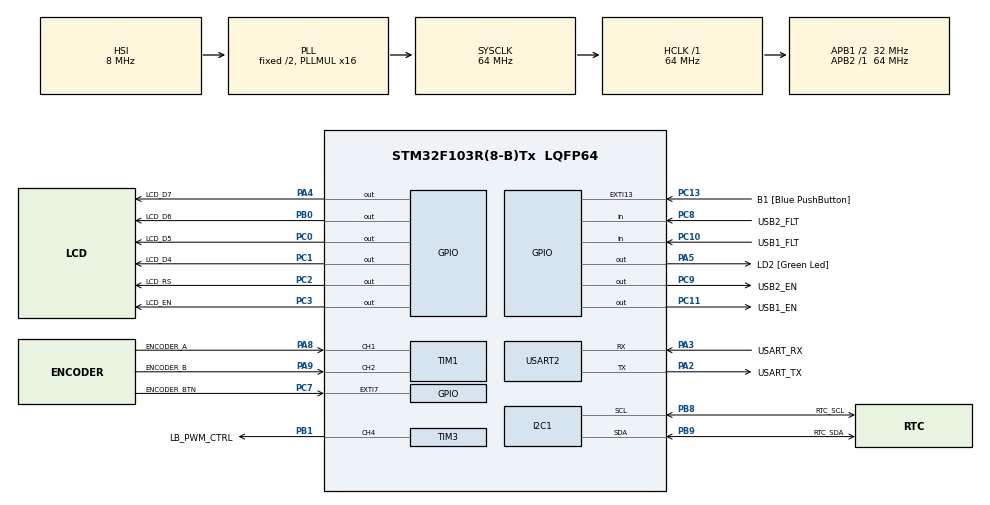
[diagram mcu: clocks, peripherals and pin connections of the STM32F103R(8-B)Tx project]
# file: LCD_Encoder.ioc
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Mcu.Family=STM32F1
Mcu.Name=STM32F103R(8-B)Tx
Mcu.Package=LQFP64
NVIC.EXTI15_10_IRQn=true\:0\:0\:false\:false\:true\:true\:true\:true
NVIC.PriorityGroup=NVIC_PRIORITYGROUP_4
NVIC.TIM1_BRK_IRQn=true\:0\:0\:false\:false\:true\:true\:true\:true
NVIC.TIM1_CC_IRQn=true\:0\:0\:false\:false\:true\:true\:true\:true
NVIC.TIM1_TRG_COM_IRQn=true\:0\:0\:false\:false\:true\:true\:true\:true
NVIC.TIM1_UP_IRQn=true\:0\:0\:false\:false\:true\:true\:true\:true
NVIC.TIM3_IRQn=true\:0\:0\:false\:false\:true\:true\:true\:true
PA13.GPIO_Label=TMS
PA13.Mode=Serial_Wire
PA13.Signal=SYS_JTMS-SWDIO
PA14.GPIO_Label=TCK
PA14.Mode=Serial_Wire
PA14.Signal=SYS_JTCK-SWCLK
PA2.GPIO_Label=USART_TX
PA2.GPIO_Mode=GPIO_MODE_AF_PP
PA2.GPIO_PuPd=GPIO_NOPULL
PA2.GPIO_Speed=GPIO_SPEED_FREQ_LOW
PA2.Mode=Asynchronous
PA2.Signal=USART2_TX
PA3.GPIO_Label=USART_RX
PA3.GPIO_Mode=GPIO_MODE_AF_PP
PA3.GPIO_PuPd=GPIO_NOPULL
PA3.GPIO_Speed=GPIO_SPEED_FREQ_LOW
PA3.Mode=Asynchronous
PA3.Signal=USART2_RX
PA4.GPIO_Label=LCD_D7
PA4.Signal=GPIO_Output
PA5.GPIO_Label=LD2 [Green Led]
PA5.GPIO_ModeDefaultOutputPP=GPIO_MODE_OUTPUT_PP
PA5.GPIO_PuPd=GPIO_NOPULL
PA5.GPIO_Speed=GPIO_SPEED_FREQ_LOW
PA5.Signal=GPIO_Output
PA8.GPIO_Label=ENCODER_A
PA8.Signal=S_TIM1_CH1
PA9.GPIO_Label=ENCODER_B
PA9.Signal=S_TIM1_CH2
PB0.GPIO_Label=LCD_D6
PB0.Signal=GPIO_Output
PB1.GPIO_Label=LB_PWM_CTRL
PB1.Signal=S_TIM3_CH4
PB3.GPIO_Label=SWO
PB3.Signal=SYS_JTDO-TRACESWO
PB8.GPIO_Label=RTC_SCL
PB8.Mode=I2C
PB8.Signal=I2C1_SCL
PB9.GPIO_Label=RTC_SDA
PB9.Mode=I2C
PB9.Signal=I2C1_SDA
PC0.GPIO_Label=LCD_D5
PC0.Signal=GPIO_Output
PC1.GPIO_Label=LCD_D4
PC1.Signal=GPIO_Output
PC10.GPIO_Label=USB1_FLT
PC10.Signal=GPIO_Input
PC11.GPIO_Label=USB1_EN
PC11.Signal=GPIO_Output
PC13-TAMPER-RTC.GPIO_Label=B1 [Blue PushButton]
PC13-TAMPER-RTC.GPIO_PuPd=GPIO_NOPULL
PC13-TAMPER-RTC.Signal=GPXTI13
PC14-OSC32_IN.Mode=LSE-External-Oscillator
PC14-OSC32_IN.Signal=RCC_OSC32_IN
PC15-OSC32_OUT.Mode=LSE-External-Oscillator
PC15-OSC32_OUT.Signal=RCC_OSC32_OUT
PC2.GPIO_Label=LCD_RS
PC2.Signal=GPIO_Output
PC3.GPIO_Label=LCD_EN
PC3.Signal=GPIO_Output
PC7.GPIO_Label=ENCODER_BTN
PC7.GPIO_ModeDefaultEXTI=GPIO_MODE_IT_FALLING
PC7.GPIO_PuPd=GPIO_PULLUP
PC7.Signal=GPXTI7
PC8.GPIO_Label=USB2_FLT
PC8.Signal=GPIO_Input
PC9.GPIO_Label=USB2_EN
PC9.Signal=GPIO_Output
PD0-OSC_IN.Mode=HSE-External-Clock-Source
PD0-OSC_IN.Signal=RCC_OSC_IN
PD1-OSC_OUT.Mode=HSE-External-Clock-Source
PD1-OSC_OUT.Signal=RCC_OSC_OUT
ProjectManager.HeapSize=0x200
ProjectManager.StackSize=0x400
ProjectManager.TargetToolchain=STM32CubeIDE
RCC.AHBFreq_Value=64000000
RCC.APB1CLKDivider=RCC_HCLK_DIV2
RCC.APB1Freq_Value=32000000
RCC.APB1TimFreq_Value=64000000
RCC.APB2Freq_Value=64000000
RCC.APB2TimFreq_Value=64000000
RCC.HCLKFreq_Value=64000000
RCC.PLLMUL=RCC_PLL_MUL16
RCC.RTCClockSelection=RCC_RTCCLKSOURCE_LSE
RCC.SYSCLKFreq_VALUE=64000000
RCC.SYSCLKSource=RCC_SYSCLKSOURCE_PLLCLK
RCC.USBFreq_Value=64000000
SH.S_TIM1_CH1.0=TIM1_CH1,Encoder_Interface
SH.S_TIM1_CH2.0=TIM1_CH2,Encoder_Interface
SH.S_TIM3_CH4.0=TIM3_CH4,PWM Generation4 CH4
TIM3.Channel-PWM\ Generation4\ CH4=TIM_CHANNEL_4
USART2.VirtualMode=VM_ASYNC
board=NUCLEO-F103RB

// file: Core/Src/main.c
/*
 * Created by: Marcin Dziedzic
 */

/* USER CODE BEGIN Header */
/**
  ******************************************************************************
  * @file           : main.c
  * @brief          : Main program body
  ******************************************************************************
  * @attention
  *
  * Copyright (c) 2025 STMicroelectronics.
  * All rights reserved.
  *
  * This software is licensed under terms that can be found in the LICENSE file
  * in the root directory of this software component.
  * If no LICENSE file comes with this software, it is provided AS-IS.
  *
  ******************************************************************************
  */
/* USER CODE END Header */

#include "main.h"

/* USER CODE BEGIN Includes */
#include "r_encoder.h"
#include "RTC.h"
#include "lcd.h"
#include "menu.h"
#include "light_sen.h"
#include "fade.h"
#include "menu_state_handlers.h"
#include "alarm.h"
/* USER CODE END Includes */

I2C_HandleTypeDef hi2c1;
TIM_HandleTypeDef htim1;
TIM_HandleTypeDef htim3;
UART_HandleTypeDef huart2;
LedFadeHandle_t g_fadeHandle;

/* USER CODE BEGIN PV */
uint32_t lastEncMove    = 0;
uint32_t lastBtnPress   = 0;
uint32_t lastTimeUpdate = 0;
REncoder_HandleTypeDef henc;
extern int menuCount;
/* USER CODE END PV */

void SystemClock_Config(void);
static void MX_GPIO_Init(void);
static void MX_USART2_UART_Init(void);
static void MX_TIM1_Init(void);
static void MX_I2C1_Init(void);
static void MX_TIM3_Init(void);

/**
  * @brief  Główna funkcja programu (punkt startu).
  * @retval int
  */
int main(void)
{

  /* 1. Inicjalizacja biblioteki HAL */
  HAL_Init();

  /* 2. Konfiguracja zegara systemowego (CubeMX) */
  SystemClock_Config();

  /* USER CODE BEGIN Init */
  RTC_Init(&hi2c1);
  /* USER CODE END Init */

  /* Inicjalizacja wygenerowanych peryferiów */
  MX_GPIO_Init();
  MX_USART2_UART_Init();
  MX_TIM1_Init();
  MX_I2C1_Init();
  MX_TIM3_Init();

  /* USER CODE BEGIN 2 */
  HAL_TIM_PWM_Start(&htim3, TIM_CHANNEL_4);
  __HAL_TIM_SET_COMPARE(&htim3, TIM_CHANNEL_4, htim3.Init.Period);
  l_BulbOnOff = 2; // 2 = OFF

  REncoder_Init(&henc, &htim1, GPIOC, GPIO_PIN_7);
  LightSen_Init(&hi2c1);

  // Inicjalizacja LCD
  Lcd_PortType ports[] = { GPIOC, GPIOC, GPIOB, GPIOA };
  Lcd_PinType  pins[]  = { GPIO_PIN_0, GPIO_PIN_1, GPIO_PIN_0, GPIO_PIN_4 };
  Lcd_HandleTypeDef lcd = Lcd_create(
      ports,
      pins,
      GPIOC, GPIO_PIN_2,  // RS
      GPIOC, GPIO_PIN_3,  // EN
      LCD_4_BIT_MODE
  );

  // Wyświetlenie menu głównego
  Menu_Display(&lcd, menuIndex, true);
  AlarmPreSet();
  /* USER CODE END 2 */

  /* USER CODE BEGIN WHILE */
  while (1)
  {
    LedFade_Process(&g_fadeHandle);

    int val = REncoder_Update(&henc);
    uint32_t now = HAL_GetTick();

    // Odczyt RTC
    RTC_TimeTypeDef rtc_info;
    RTC_ReadTime(&rtc_info);

    CheckAlarmTrigger(&rtc_info);

    // Główny automat stanów menu
    switch (gState)
    {
      case MENU_STATE:
        HandleMenuState(val, now, &lcd);
        break;
      case OPTION_STATE:
        HandleOptionState(val, now, &lcd);
        break;
      case SUBMENU_2:
        HandleSubMenu2State(val, now, &lcd);
        break;
      case SUBMENU_2B:
        HandleSubMenu2BState(val, now, &lcd);
        break;
      case SUBMENU_L_BULB:
        HandleSubMenuLBState(val, now, &lcd);
        break;
      case SUBMENU_ALARM:
        HandleSubMenuAlarmState(val, now, &lcd);
        break;
      case SUBMENU_ALARM_SET:
        HandleSubMenuAlarmSetState(val, now, &lcd);
        break;
      case ALARM_TRIGGERED:
        HandleAlarmTriggered(val, now, &lcd);
        break;
      case SUBMENU_ALARM_LSENSOR:
        HandleSubMenuAlarmLSensorState(val, now, &lcd);
        break;
      default:
        break;
    }

    // Opóźnienie w pętli (odciążenie CPU)
    HAL_Delay(10);
  }
  /* USER CODE END WHILE */
}

void SystemClock_Config(void)
{
  RCC_OscInitTypeDef RCC_OscInitStruct = {0};
  RCC_ClkInitTypeDef RCC_ClkInitStruct = {0};

  RCC_OscInitStruct.OscillatorType      = RCC_OSCILLATORTYPE_HSI;
  RCC_OscInitStruct.HSIState           = RCC_HSI_ON;
  RCC_OscInitStruct.HSICalibrationValue= RCC_HSICALIBRATION_DEFAULT;
  RCC_OscInitStruct.PLL.PLLState       = RCC_PLL_ON;
  RCC_OscInitStruct.PLL.PLLSource      = RCC_PLLSOURCE_HSI_DIV2;
  RCC_OscInitStruct.PLL.PLLMUL         = RCC_PLL_MUL16;
  if (HAL_RCC_OscConfig(&RCC_OscInitStruct) != HAL_OK)
  {
    Error_Handler();
  }

  RCC_ClkInitStruct.ClockType      = RCC_CLOCKTYPE_HCLK|RCC_CLOCKTYPE_SYSCLK
                                     |RCC_CLOCKTYPE_PCLK1|RCC_CLOCKTYPE_PCLK2;
  RCC_ClkInitStruct.SYSCLKSource   = RCC_SYSCLKSOURCE_PLLCLK;
  RCC_ClkInitStruct.AHBCLKDivider  = RCC_SYSCLK_DIV1;
  RCC_ClkInitStruct.APB1CLKDivider = RCC_HCLK_DIV2;
  RCC_ClkInitStruct.APB2CLKDivider = RCC_HCLK_DIV1;

  if (HAL_RCC_ClockConfig(&RCC_ClkInitStruct, FLASH_LATENCY_2) != HAL_OK)
  {
    Error_Handler();
  }
}

static void MX_I2C1_Init(void)
{
  hi2c1.Instance              = I2C1;
  hi2c1.Init.ClockSpeed       = 100000;
  hi2c1.Init.DutyCycle        = I2C_DUTYCYCLE_2;
  hi2c1.Init.OwnAddress1      = 0;
  hi2c1.Init.AddressingMode   = I2C_ADDRESSINGMODE_7BIT;
  hi2c1.Init.DualAddressMode  = I2C_DUALADDRESS_DISABLE;
  hi2c1.Init.OwnAddress2      = 0;
  hi2c1.Init.GeneralCallMode  = I2C_GENERALCALL_DISABLE;
  hi2c1.Init.NoStretchMode    = I2C_NOSTRETCH_DISABLE;
  if (HAL_I2C_Init(&hi2c1) != HAL_OK)
  {
    Error_Handler();
  }
}

static void MX_TIM1_Init(void)
{
  TIM_Encoder_InitTypeDef sConfig       = {0};
  TIM_MasterConfigTypeDef sMasterConfig = {0};

  htim1.Instance               = TIM1;
  htim1.Init.Prescaler         = 0;
  htim1.Init.CounterMode       = TIM_COUNTERMODE_UP;
  htim1.Init.Period            = 65535;
  htim1.Init.ClockDivision     = TIM_CLOCKDIVISION_DIV1;
  htim1.Init.RepetitionCounter = 0;
  htim1.Init.AutoReloadPreload = TIM_AUTORELOAD_PRELOAD_DISABLE;

  sConfig.EncoderMode          = TIM_ENCODERMODE_TI1;
  sConfig.IC1Polarity          = TIM_ICPOLARITY_RISING;
  sConfig.IC1Selection         = TIM_ICSELECTION_DIRECTTI;
  sConfig.IC1Prescaler         = TIM_ICPSC_DIV1;
  sConfig.IC1Filter            = 0;
  sConfig.IC2Polarity          = TIM_ICPOLARITY_RISING;
  sConfig.IC2Selection         = TIM_ICSELECTION_DIRECTTI;
  sConfig.IC2Prescaler         = TIM_ICPSC_DIV1;
  sConfig.IC2Filter            = 0;

  if (HAL_TIM_Encoder_Init(&htim1, &sConfig) != HAL_OK)
  {
    Error_Handler();
  }

  sMasterConfig.MasterOutputTrigger = TIM_TRGO_RESET;
  sMasterConfig.MasterSlaveMode     = TIM_MASTERSLAVEMODE_DISABLE;
  if (HAL_TIMEx_MasterConfigSynchronization(&htim1, &sMasterConfig) != HAL_OK)
  {
    Error_Handler();
  }
}

static void MX_TIM3_Init(void)
{
  TIM_MasterConfigTypeDef sMasterConfig = {0};
  TIM_OC_InitTypeDef sConfigOC         = {0};

  htim3.Instance               = TIM3;
  htim3.Init.Prescaler         = 0;
  htim3.Init.CounterMode       = TIM_COUNTERMODE_UP;
  htim3.Init.Period            = 65535;
  htim3.Init.ClockDivision     = TIM_CLOCKDIVISION_DIV1;
  htim3.Init.AutoReloadPreload = TIM_AUTORELOAD_PRELOAD_DISABLE;
  if (HAL_TIM_PWM_Init(&htim3) != HAL_OK)
  {
    Error_Handler();
  }

  sMasterConfig.MasterOutputTrigger = TIM_TRGO_RESET;
  sMasterConfig.MasterSlaveMode     = TIM_MASTERSLAVEMODE_DISABLE;
  if (HAL_TIMEx_MasterConfigSynchronization(&htim3, &sMasterConfig) != HAL_OK)
  {
    Error_Handler();
  }

  sConfigOC.OCMode      = TIM_OCMODE_PWM1;
  sConfigOC.Pulse       = 0;
  sConfigOC.OCPolarity  = TIM_OCPOLARITY_HIGH;
  sConfigOC.OCFastMode  = TIM_OCFAST_DISABLE;

  if (HAL_TIM_PWM_ConfigChannel(&htim3, &sConfigOC, TIM_CHANNEL_4) != HAL_OK)
  {
    Error_Handler();
  }

  HAL_TIM_MspPostInit(&htim3);
}

static void MX_USART2_UART_Init(void)
{
  huart2.Instance             = USART2;
  huart2.Init.BaudRate        = 115200;
  huart2.Init.WordLength      = UART_WORDLENGTH_8B;
  huart2.Init.StopBits        = UART_STOPBITS_1;
  huart2.Init.Parity          = UART_PARITY_NONE;
  huart2.Init.Mode            = UART_MODE_TX_RX;
  huart2.Init.HwFlowCtl       = UART_HWCONTROL_NONE;
  huart2.Init.OverSampling    = UART_OVERSAMPLING_16;

  if (HAL_UART_Init(&huart2) != HAL_OK)
  {
    Error_Handler();
  }
}

static void MX_GPIO_Init(void)
{
  GPIO_InitTypeDef GPIO_InitStruct = {0};

  /* GPIO Ports Clock Enable */
  __HAL_RCC_GPIOC_CLK_ENABLE();
  __HAL_RCC_GPIOD_CLK_ENABLE();
  __HAL_RCC_GPIOA_CLK_ENABLE();
  __HAL_RCC_GPIOB_CLK_ENABLE();

  /* Configure GPIO pin Output Level */
  HAL_GPIO_WritePin(GPIOC,
                    LCD_D5_Pin|LCD_D4_Pin|LCD_RS_Pin|LCD_EN_Pin
                    |USB2_EN_Pin|USB1_EN_Pin,
                    GPIO_PIN_RESET);

  /* Configure GPIO pin Output Level */
  HAL_GPIO_WritePin(GPIOA,
                    LCD_D7_Pin|LD2_Pin,
                    GPIO_PIN_RESET);

  /* Configure GPIO pin Output Level */
  HAL_GPIO_WritePin(LCD_D6_GPIO_Port,
                    LCD_D6_Pin,
                    GPIO_PIN_RESET);

  /*Configure GPIO pin : B1_Pin */
  GPIO_InitStruct.Pin  = B1_Pin;
  GPIO_InitStruct.Mode = GPIO_MODE_IT_RISING;
  GPIO_InitStruct.Pull = GPIO_NOPULL;
  HAL_GPIO_Init(B1_GPIO_Port, &GPIO_InitStruct);

  /*Configure GPIO pins : LCD_D5_Pin LCD_D4_Pin LCD_RS_Pin LCD_EN_Pin
                           USB2_EN_Pin USB1_EN_Pin */
  GPIO_InitStruct.Pin   = LCD_D5_Pin|LCD_D4_Pin|LCD_RS_Pin|LCD_EN_Pin
                          |USB2_EN_Pin|USB1_EN_Pin;
  GPIO_InitStruct.Mode  = GPIO_MODE_OUTPUT_PP;
  GPIO_InitStruct.Pull  = GPIO_NOPULL;
  GPIO_InitStruct.Speed = GPIO_SPEED_FREQ_LOW;
  HAL_GPIO_Init(GPIOC, &GPIO_InitStruct);

  /*Configure GPIO pins : LCD_D7_Pin LD2_Pin */
  GPIO_InitStruct.Pin   = LCD_D7_Pin|LD2_Pin;
  GPIO_InitStruct.Mode  = GPIO_MODE_OUTPUT_PP;
  GPIO_InitStruct.Pull  = GPIO_NOPULL;
  GPIO_InitStruct.Speed = GPIO_SPEED_FREQ_LOW;
  HAL_GPIO_Init(GPIOA, &GPIO_InitStruct);

  /*Configure GPIO pin : LCD_D6_Pin */
  GPIO_InitStruct.Pin   = LCD_D6_Pin;
  GPIO_InitStruct.Mode  = GPIO_MODE_OUTPUT_PP;
  GPIO_InitStruct.Pull  = GPIO_NOPULL;
  GPIO_InitStruct.Speed = GPIO_SPEED_FREQ_LOW;
  HAL_GPIO_Init(LCD_D6_GPIO_Port, &GPIO_InitStruct);

  /*Configure GPIO pin : ENCODER_BTN_Pin */
  GPIO_InitStruct.Pin   = ENCODER_BTN_Pin;
  GPIO_InitStruct.Mode  = GPIO_MODE_IT_FALLING;
  GPIO_InitStruct.Pull  = GPIO_PULLUP;
  HAL_GPIO_Init(ENCODER_BTN_GPIO_Port, &GPIO_InitStruct);

  /*Configure GPIO pins : USB2_FLT_Pin USB1_FLT_Pin */
  GPIO_InitStruct.Pin   = USB2_FLT_Pin|USB1_FLT_Pin;
  GPIO_InitStruct.Mode  = GPIO_MODE_INPUT;
  GPIO_InitStruct.Pull  = GPIO_NOPULL;
  HAL_GPIO_Init(GPIOC, &GPIO_InitStruct);

  /* EXTI interrupt init */
  HAL_NVIC_SetPriority(EXTI15_10_IRQn, 0, 0);
  HAL_NVIC_EnableIRQ(EXTI15_10_IRQn);
}

/**
  * @brief Funkcja wywoływana w przypadku błędu.
  */
void Error_Handler(void)
{
  __disable_irq();
  while (1)
  {
  }
}
